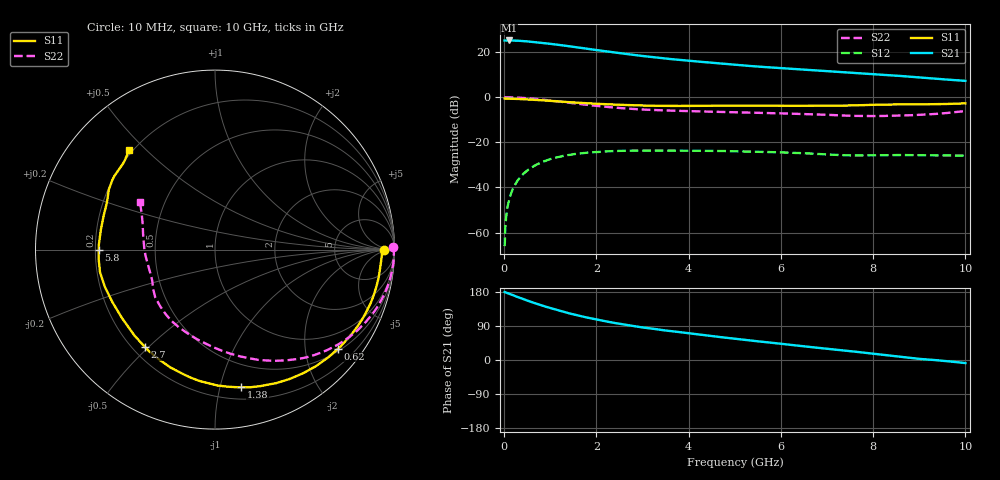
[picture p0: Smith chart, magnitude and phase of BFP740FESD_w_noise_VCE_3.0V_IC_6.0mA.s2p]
! Infineon Technologies  Discrete & RF Semiconductors
! BFP740FESD
! VCE =  3.0 V,  IC =  6.0 mA
! Common Emitter S-Parameters:  Jan 2016
# GHz  S  MA  R  50
!  f  S11  S21  S12  S22
! GHz  MAG  ANG  MAG  ANG  MAG  ANG  MAG  ANG
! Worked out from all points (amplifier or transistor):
!   233 points, 10 MHz to 10 GHz, reference 50 ohm
!   highest |S21| = 25.2 dB at 100 MHz (marker M1)
!   |S21| within 3 dB of that: start of sweep to 1.562 GHz
!   unconditionally stable (mu >= 1): start of sweep to 10.44 MHz; 6.922 GHz to end of sweep
!   at 200 MHz: K = 0.03, MSG = 32.7 dB, |S12| = -40.2 dB
!   at 1.74 GHz: K = 0.21, MSG = 23.2 dB, |S12| = -24.7 dB
!   at 10 GHz: K = 1.45, MAG = 12.6 dB, |S12| = -25.9 dB
!   lowest NFmin = 0.52 dB at 450 MHz
!   S11 on the Smith chart (normalised r, x): 10 MHz: 33, -3; 620 MHz: 0.56, -2.74; 1.38 GHz: 0.30, -1.16; 2.7 GHz: 0.25, -0.49; 5.8 GHz: 0.21, -0.00; 10 GHz: 0.19, +0.44
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0.01  0.9408 -0.3  18.11 179.4  0.0005 13.2  0.9894 0.8
0.045  0.9289 -2.8  18.04 177.7  0.0024 83.9  0.997 -1.9
0.1  0.9263 -6.4  18.13 175.4  0.0049 85.4  0.9965 -4.4
0.2  0.9227 -12.8  18.08 170.7  0.0098 81.8  0.9902 -8.8
0.34  0.9127 -21.8  17.77 164.1  0.0164 76.8  0.9753 -14.9
0.62  0.8805 -38.8  16.83 151.7  0.0288 66.5  0.9284 -26.3
0.8  0.8592 -49.1  16.09 144.6  0.0357 60.5  0.8918 -33.3
1  0.8318 -60.2  15.27 137.1  0.0425 54.1  0.8469 -40.7
1.2  0.8044 -70.6  14.41 130.0  0.0481 48.2  0.8007 -47.7
1.38  0.781 -79.2  13.6 124.1  0.0523 43.2  0.7594 -53.5
1.68  0.7471 -92.2  12.36 115.2  0.0575 36.0  0.6979 -62.5
1.94  0.7226 -101.9  11.34 108.4  0.0607 30.8  0.6529 -69.6
2.2  0.7021 -110.7  10.44 102.1  0.0629 26.1  0.6149 -76.1
2.7  0.6679 -125.8  8.956 91.6  0.0653 18.5  0.5574 -87.7
3  0.6558 -133.4  8.211 85.9  0.0658 14.7  0.5338 -93.6
3.4  0.6441 -141.7  7.381 79.6  0.0657 10.9  0.5136 -99.7
4.4  0.6456 -159.7  5.93 64.6  0.0651 3.5  0.4806 -113.1
5.1  0.6518 -170.2  5.146 54.7  0.0631 -0.8  0.4629 -122.4
5.8  0.6475 -179.7  4.56 45.5  0.0607 -4.2  0.4442 -131.2
6.8  0.6461 165.8  3.896 32.2  0.0553 -7.2  0.4146 -145.1
8.4  0.691 145.9  3.058 11.1  0.0522 -2.2  0.3887 -175.0
10  0.7316 130.9  2.307 -8.1  0.0508 -1.0  0.4941 147.7
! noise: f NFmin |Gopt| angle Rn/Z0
0.45  0.52  0.43  5  0.12
2.4  0.63  0.27  44  0.11
5.5  0.81  0.38  128  0.08
10  1.5  0.42  -139  0.13
